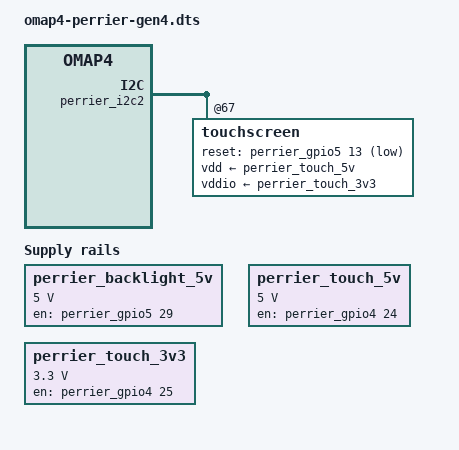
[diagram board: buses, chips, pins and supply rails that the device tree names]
// SPDX-License-Identifier: GPL-2.0-only
// Stock perrier_init, idefix_touch_init and live stock pinmux readback.
#include "../perrier-cold-ethernet/omap4-perrier-cold-ethernet.dts"

&perrier_core_pins {
    perrier_backlight_5v_pin: backlight-5v-pin {
        pinctrl-single,pins = <OMAP4_IOPAD(0x160, 0x0003)>;
    };
    perrier_backlight_pwm_pin: backlight-pwm-pin {
        pinctrl-single,pins = <OMAP4_IOPAD(0x1d2, 0x0001)>;
    };
    perrier_backlight_enable_pin: backlight-enable-pin {
        // Stock idefix_backlight_set_pad uses GPIO151, MCSPI4_CLK at 0x154.
        // 0x156 in the historical inspector was MCSPI4_SIMO, a different pad.
        pinctrl-single,pins = <OMAP4_IOPAD(0x154, 0x0003)>;
    };
    perrier_touch_5v_pin: touch-5v-pin {
        pinctrl-single,pins = <OMAP4_IOPAD(0x112, 0x0003)>;
    };
    perrier_touch_3v3_pin: touch-3v3-pin {
        pinctrl-single,pins = <OMAP4_IOPAD(0x114, 0x0003)>;
    };
    perrier_touch_pins: touch-pins {
        pinctrl-single,pins = <
            OMAP4_IOPAD(0x140, 0x0003) // GPIO141 reset output
            OMAP4_IOPAD(0x142, 0x731b) // GPIO142 IRQ input/pull-up/off wake
        >;
    };
    perrier_touch_i2c_pins: touch-i2c-pins {
        pinctrl-single,pins = <
            OMAP4_IOPAD(0x126, 0x0100)
            OMAP4_IOPAD(0x128, 0x0100)
        >;
    };
};

&{/} {
    perrier_backlight_5v: regulator-backlight-5v {
        compatible = "regulator-fixed";
        regulator-name = "perrier-backlight-5v";
        regulator-min-microvolt = <5000000>;
        regulator-max-microvolt = <5000000>;
        pinctrl-names = "default";
        pinctrl-0 = <&perrier_backlight_5v_pin>;
        gpio = <&perrier_gpio5 29 GPIO_ACTIVE_HIGH>; // GPIO157 lcd_5v_enable
        enable-active-high;
        // Stock enables 5 V and waits 11 ms before programming timer10.
        startup-delay-us = <11000>;
        regulator-boot-on;
        // Hold this identified rail on during bring-up, as in the lit stock
        // handoff baseline. PWM still controls brightness and blanking.
        // This establishes supply-before-PWM ordering without a driver fork.
        regulator-always-on;
    };
    perrier_touch_5v: regulator-touch-5v {
        compatible = "regulator-fixed";
        regulator-name = "perrier-touch-5v";
        regulator-min-microvolt = <5000000>;
        regulator-max-microvolt = <5000000>;
        pinctrl-names = "default";
        pinctrl-0 = <&perrier_touch_5v_pin>;
        gpio = <&perrier_gpio4 24 GPIO_ACTIVE_HIGH>; // stock tp_5v_en GPIO120
        enable-active-high;
    };
    perrier_touch_3v3: regulator-touch-3v3 {
        compatible = "regulator-fixed";
        regulator-name = "perrier-touch-3v3";
        regulator-min-microvolt = <3300000>;
        regulator-max-microvolt = <3300000>;
        pinctrl-names = "default";
        pinctrl-0 = <&perrier_touch_3v3_pin>;
        gpio = <&perrier_gpio4 25 GPIO_ACTIVE_HIGH>; // stock tp_3v3_en GPIO121
        enable-active-high;
    };
};

&perrier_backlight {
    pinctrl-names = "default";
    pinctrl-0 = <&perrier_backlight_pwm_pin &perrier_backlight_enable_pin>;
    power-supply = <&perrier_backlight_5v>;
    enable-gpios = <&perrier_gpio5 23 GPIO_ACTIVE_HIGH>; // GPIO151, stock on = high
};

&perrier_i2c2 {
    pinctrl-names = "default";
    pinctrl-0 = <&perrier_touch_i2c_pins>;
    touchscreen@67 {
        pinctrl-names = "default";
        pinctrl-0 = <&perrier_touch_pins>;
        reset-gpios = <&perrier_gpio5 13 GPIO_ACTIVE_LOW>;
        vdd-supply = <&perrier_touch_5v>;
        vddio-supply = <&perrier_touch_3v3>;
    };
};
